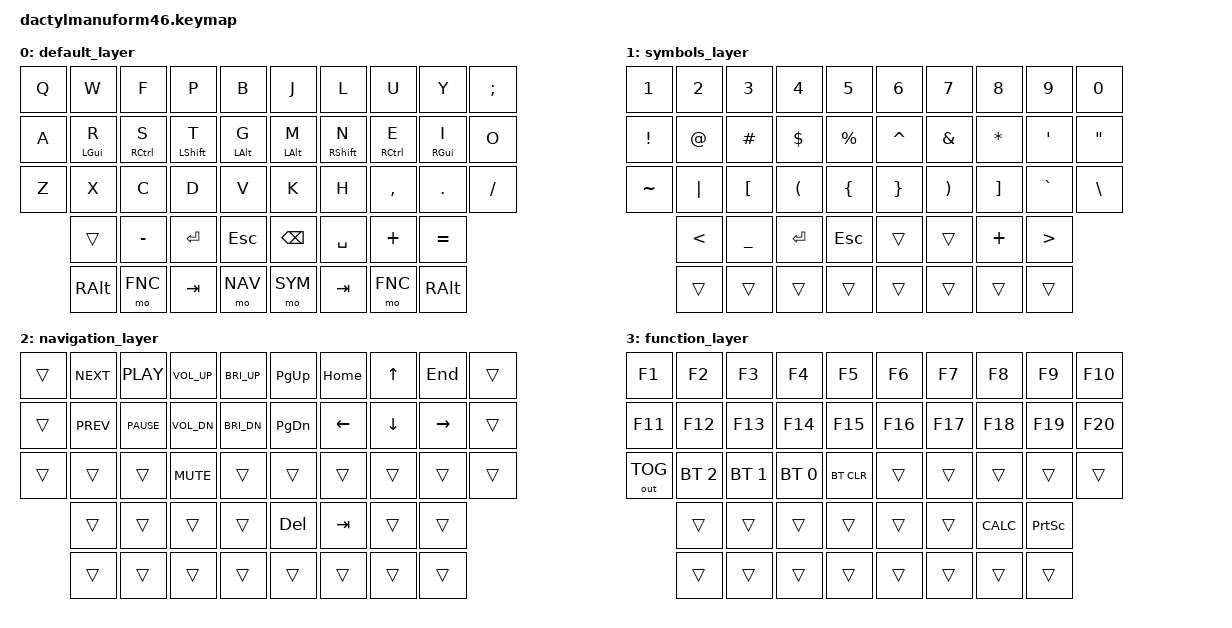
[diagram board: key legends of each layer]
#include <behaviors.dtsi>
#include <dt-bindings/zmk/keys.h>
#include <dt-bindings/zmk/bt.h>
#include <dt-bindings/zmk/outputs.h>

#define DEFAULT 0
#define SYM     1
#define NAV     2
#define FNC     3

#define L_KEYS 0 1 2 3 4 10 11 12 13 14 20 21 22 23 24 30 31 32 33 38 39 40 41
#define R_KEYS 5 6 7 8 9 15 16 17 18 19 25 26 27 28 29 34 35 36 37 42 43 44 45

/ {  
    behaviors {
        hml: home_row_mod_left {
            compatible = "zmk,behavior-hold-tap";
            #binding-cells = <2>;
            flavor = "balanced";
            require-prior-idle-ms = <150>;
            tapping-term-ms = <200>;
            quick-tap-ms = <200>;
            bindings = <&kp>, <&kp>;
            hold-trigger-key-positions = < R_KEYS >; 
            hold-trigger-on-release;
        };

        hmr: home_row_mod_right {
            compatible = "zmk,behavior-hold-tap";
            #binding-cells = <2>;
            flavor = "balanced";
            require-prior-idle-ms = <150>;
            tapping-term-ms = <200>;
            quick-tap-ms = <200>;
            bindings = <&kp>, <&kp>;
            hold-trigger-key-positions = < L_KEYS >; 
            hold-trigger-on-release;
        };
    };

    keymap {
        compatible = "zmk,keymap";

        default_layer {
            bindings = <
                &kp Q  &kp W        &kp F        &kp P        &kp B             &kp J       &kp L        &kp U        &kp Y        &kp SEMI
                &kp A  &hml LGUI R  &hml RCTRL S &hml LSHFT T &hml LALT G       &hmr LALT M &hmr RSHFT N &hmr RCTRL E &hmr RGUI I  &kp O
                &kp Z  &kp X        &kp C        &kp D        &kp V             &kp K       &kp H        &kp COMMA    &kp DOT      &kp FSLH
                       &trans       &kp MINUS    &kp RET      &kp ESC           &kp BSPC    &kp SPACE    &kp PLUS     &kp EQUAL
                       &kp RALT     &mo FNC      &kp TAB      &mo NAV           &mo SYM     &kp TAB      &mo FNC      &kp RALT
            >;
        }; 

        symbols_layer {
            bindings = <
                &kp N1    &kp N2   &kp N3    &kp N4   &kp N5          &kp N6    &kp N7    &kp N8    &kp N9    &kp N0
                &kp EXCL  &kp AT   &kp HASH  &kp DLLR &kp PRCNT       &kp CARET &kp AMPS  &kp STAR  &kp APOS  &kp DQT
                &kp TILDE &kp PIPE &kp LBKT  &kp LPAR &kp LBRC        &kp RBRC  &kp RPAR  &kp RBKT  &kp GRAVE &kp BSLH
                          &kp LT   &kp UNDER &kp RET  &kp ESC         &trans    &trans    &kp PLUS  &kp GT
                          &trans   &trans    &trans   &trans          &trans    &trans    &trans    &trans
            >;
        };

        navigation_layer {
            bindings = <
                &trans  &kp C_NEXT &kp C_PLAY  &kp C_VOL_UP &kp C_BRI_UP          &kp PG_UP  &kp HOME &kp UP   &kp END   &trans
                &trans  &kp C_PREV &kp C_PAUSE &kp C_VOL_DN &kp C_BRI_DN          &kp PG_DN  &kp LEFT &kp DOWN &kp RIGHT &trans
                &trans  &trans     &trans      &kp C_MUTE   &trans                &trans     &trans   &trans   &trans    &trans
                &trans  &trans     &trans      &trans                             &kp DEL    &kp TAB  &trans   &trans
                &trans  &trans     &trans      &trans                             &trans     &trans   &trans   &trans
            >;
        };

        function_layer {
            bindings = <
                &kp F1       &kp F2       &kp F3       &kp F4       &kp F5        &kp F6     &kp F7       &kp F8       &kp F9        &kp F10
                &kp F11      &kp F12      &kp F13      &kp F14      &kp F15       &kp F16    &kp F17      &kp F18      &kp F19       &kp F20
                &out OUT_TOG &bt BT_SEL 2 &bt BT_SEL 1 &bt BT_SEL 0 &bt BT_CLR    &trans     &trans       &trans       &trans        &trans 
                             &trans       &trans       &trans       &trans        &trans     &trans       &kp K_CALC   &kp PSCRN
                             &trans       &trans       &trans       &trans        &trans     &trans       &trans       &trans
            >;
        };
    };
};
